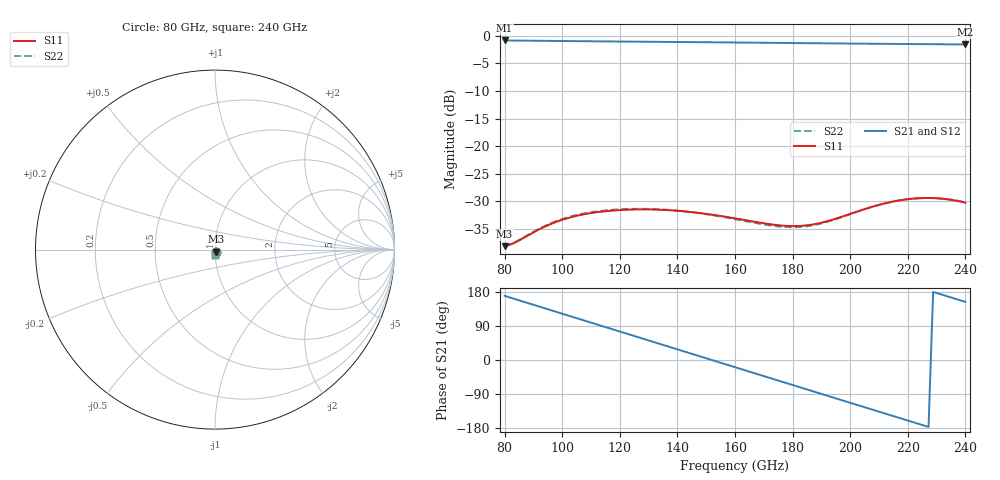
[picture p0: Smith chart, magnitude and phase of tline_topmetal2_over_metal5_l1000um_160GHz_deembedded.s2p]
! Created with skrf 2.2.0 (http://scikit-rf.org).
# GHz S DB R 50.0
! Port[1] = P1
! Port[2] = P2
!freq dBS11 angS11 dBS21 angS21 dBS12 angS12 dBS22 angS22
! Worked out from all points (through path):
!   101 points, 80 GHz to 240 GHz, reference 50 ohm
!   highest |S21| = -0.86 dB at 80 GHz (marker M1); lowest = -1.6 dB at 240 GHz (marker M2)
!   group delay of S21, straight-line fit = 6.53 ps
!   lowest |S11| = -38.1 dB at 80 GHz (marker M3), VSWR 1.03, Z = 50.5 - j1.13 ohm
!   |S11| at or under -10 dB: start of sweep to end of sweep
!   |S22| runs from -38.0 to -29.4 dB; largest |S21 - S12| = 1e-13
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80  -38.09 -63.5  -0.86 169.3  -0.86 169.3  -38.04 -63.6
86.4  -36.66 -48.8  -0.90 154.2  -0.90 154.2  -36.57 -49.0
92.8  -34.85 -45.1  -0.93 139.1  -0.93 139.1  -34.73 -45.4
100.8  -33.19 -48.0  -0.97 120.3  -0.97 120.3  -33.05 -48.6
107.2  -32.36 -52.5  -1.00 105.2  -1.00 105.2  -32.21 -53.3
113.6  -31.85 -57.5  -1.03 90.2  -1.03 90.2  -31.70 -58.6
120  -31.56 -62.5  -1.06 75.1  -1.06 75.1  -31.43 -63.8
126.4  -31.44 -67.3  -1.09 60.1  -1.09 60.1  -31.33 -68.8
134.4  -31.51 -72.9  -1.12 41.3  -1.12 41.3  -31.44 -74.6
147.2  -32.07 -80.1  -1.18 11.2  -1.18 11.2  -32.10 -82.0
153.6  -32.52 -82.4  -1.20 -3.9  -1.20 -3.9  -32.60 -84.2
160  -33.06 -83.5  -1.23 -19.0  -1.23 -19.0  -33.20 -85.1
166.4  -33.64 -82.9  -1.26 -34.0  -1.26 -34.0  -33.82 -84.2
174.4  -34.27 -79.3  -1.30 -52.8  -1.30 -52.8  -34.48 -79.9
180.8  -34.46 -74.1  -1.33 -67.9  -1.33 -67.9  -34.65 -74.2
187.2  -34.15 -68.1  -1.36 -82.9  -1.36 -82.9  -34.29 -67.9
193.6  -33.34 -63.5  -1.39 -97.9  -1.39 -97.9  -33.43 -63.2
200  -32.25 -61.9  -1.43 -112.9  -1.43 -112.9  -32.30 -61.6
214.4  -30.06 -68.8  -1.49 -146.6  -1.49 -146.6  -30.08 -68.5
227.2  -29.38 -81.7  -1.54 -176.6  -1.54 -176.6  -29.37 -81.2
233.6  -29.60 -88.3  -1.56 168.4  -1.56 168.4  -29.58 -87.7
240  -30.23 -94.0  -1.58 153.4  -1.58 153.4  -30.17 -93.2
